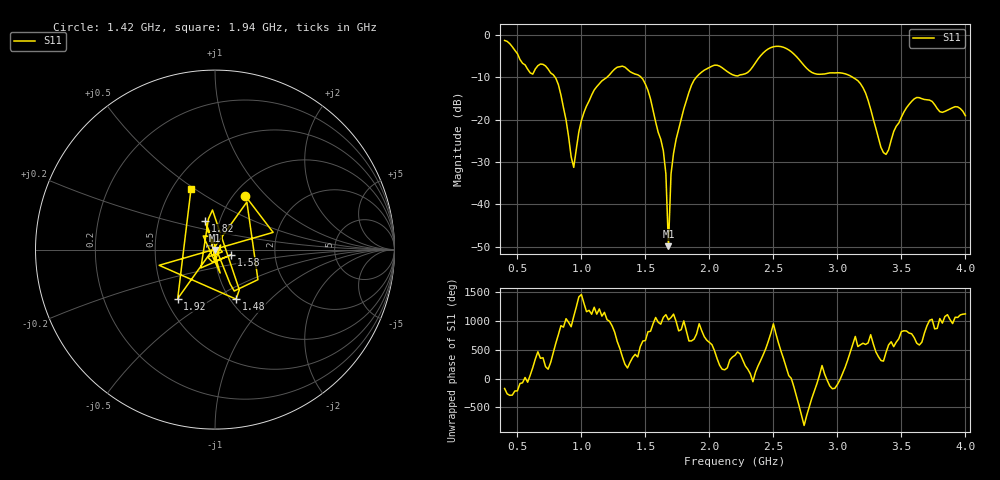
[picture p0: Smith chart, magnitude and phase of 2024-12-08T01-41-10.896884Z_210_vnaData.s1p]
!Created with skrf (http://scikit-rf.org).
# Hz S RI R 50.0
!freq ReS11 ImS11
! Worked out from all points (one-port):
!   181 points, 400 MHz to 4 GHz, reference 50 ohm
!   lowest |S11| = -49.9 dB at 1.68 GHz (marker M1), VSWR 1.01, Z = 50.2 - j0.277 ohm
!   |S11| at or under -10 dB: 794.3 MHz to 1.2 GHz (406.1 MHz wide, 40.7 % of centre); 1.466 GHz to 1.898 GHz (432.2 MHz wide, 25.7 % of centre); 3.118 GHz to end of sweep
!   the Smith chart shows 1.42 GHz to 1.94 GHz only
!   S11 on the Smith chart (normalised r, x): 1.42 GHz: 1.13, +0.77; 1.48 GHz: 1.06, -0.65; 1.58 GHz: 1.19, -0.07; 1.82 GHz: 0.86, +0.28; 1.92 GHz: 0.58, -0.36; 1.94 GHz: 0.62, +0.48
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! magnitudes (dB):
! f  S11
! 400 MHz  -1.3
! 600 MHz  -9.0
! 780 MHz  -9.4
! 860 MHz  -17.2
! 940 MHz  -31.3
! 980 MHz  -22.9
! 1.04 GHz  -16.8
! 1.3 GHz  -7.5
! 1.42 GHz  -9.3
! 1.48 GHz  -10.5
! 1.58 GHz  -20.6
! 1.64 GHz  -27.3
! 1.66 GHz  -32.8
! 1.68 GHz  -49.9
! 1.7 GHz  -32.9
! 1.76 GHz  -22.3
! 1.82 GHz  -15.6
! 1.92 GHz  -9.3
! 1.94 GHz  -8.8
! 2.2 GHz  -9.6
! 2.48 GHz  -3.0
! 2.66 GHz  -4.5
! 2.82 GHz  -9.1
! 3.1 GHz  -9.7
! 3.22 GHz  -13.7
! 3.38 GHz  -28.2
! 3.56 GHz  -16.4
! 4 GHz  -19.1
